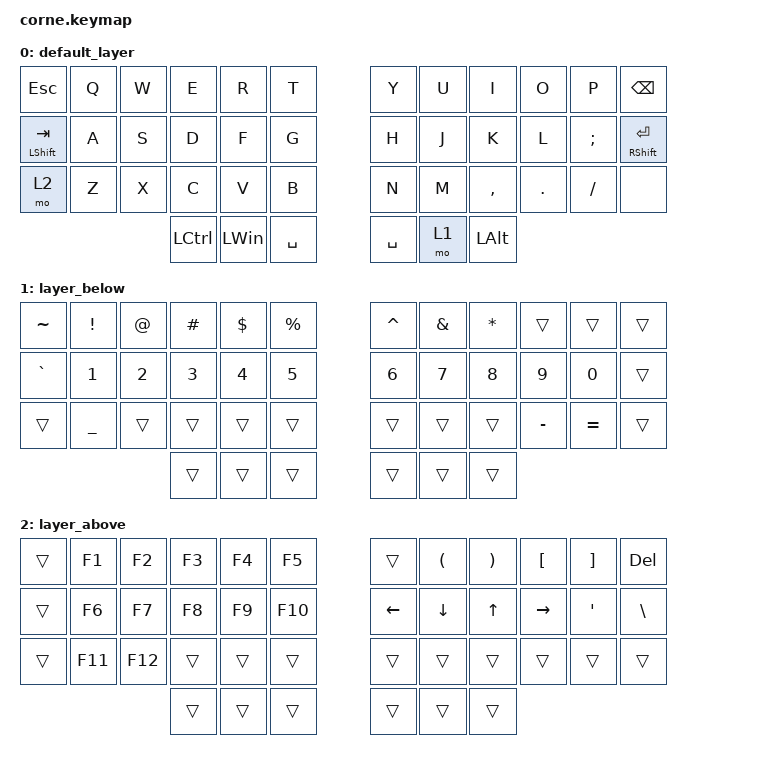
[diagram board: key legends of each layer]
/*
 * Copyright (c) 2020 The ZMK Contributors
 *
 * SPDX-License-Identifier: MIT
 */

#include <behaviors.dtsi>
#include <dt-bindings/zmk/keys.h>

/ {
    behaviors {
        tp: tap_preferred {
            compatible = "zmk,behavior-hold-tap";
            label = "TAP_PREFERRED";
            #binding-cells = <2>;
            tapping-term-ms = <150>;
            quick-tap-ms = <0>;
            flavor = "tap-preferred";
            bindings = <&kp>, <&kp>;
        };
    };

    keymap {
        compatible = "zmk,keymap";

        default_layer {
            // -----------------------------------------------------------------------------------------
            // | TAB  |  Q  |  W  |  E  |  R  |    T    |   |  Y  |  U   |  I  |  O  |  P  | ESC |
            // | CTRL |  A  |  S  |  D  |  F  |    G    |   |  H  |  J   |  K  |  L  |  ;  |  LWR/'   |
            // | SHFT |  Z  |  X  |  C  |  V  |    B    |   |  N  |  M   |  ,  |  .  |  /  | SHFT |
            //                    | GUI | LWR | ALT/ENT |   | HYPER/SPC | BKSP  | RSE |

            bindings = <
&kp ESCAPE          &kp Q  &kp W  &kp E             &kp R         &kp T        &kp Y      &kp U  &kp I         &kp O    &kp P     &kp BACKSPACE
&mt LEFT_SHIFT TAB  &kp A  &kp S  &kp D             &kp F         &kp G        &kp H      &kp J  &kp K         &kp L    &kp SEMI  &mt RIGHT_SHIFT ENTER
&mo 2               &kp Z  &kp X  &kp C             &kp V         &kp B        &kp N      &kp M  &kp COMMA     &kp DOT  &kp FSLH  &none
                                  &kp LEFT_CONTROL  &kp LEFT_WIN  &kp SPACE    &kp SPACE  &mo 1  &kp LEFT_ALT
            >;
        };

        layer_below {
            // -----------------------------------------------------------------------------------------
            // |      |  !  |  @  |  #  |  $  |    %     |   |  ^  |  &  |  *  |  (  |  )  |   \   |
            // |      |  1  |  2  |  3  |  4  |    5     |   |  -  |  =  |  `  |  [  |  ]  |  "|"  |
            // | SHFT |  6  |  7  |  8  |  9  |    0     |   |  _  |  +  |  ~  |  {  |  }  | RSHFT |
            //                     | GUI |     | ALT/ENT |   | HYPER/SPACE | BKSP |    |

            bindings = <
&kp TILDE  &kp EXCL        &kp AT  &kp HASH  &kp DLLR  &kp PERCENT    &kp CARET     &kp AMPERSAND  &kp ASTERISK  &trans     &trans     &trans
&kp GRAVE  &kp N1          &kp N2  &kp N3    &kp N4    &kp N5         &kp NUMBER_6  &kp N7         &kp NUMBER_8  &kp N9     &kp N0     &trans
&trans     &kp UNDERSCORE  &trans  &trans    &trans    &trans         &trans        &trans         &trans        &kp MINUS  &kp EQUAL  &trans
                                   &trans    &trans    &trans         &trans        &trans         &trans
            >;
        };

        layer_above {
            // -----------------------------------------------------------------------------------------
            // |       |  F1  |  F2  |  F3  |  F4  |  F5 |            |  F6  |  F7  |  F8  |  F9  |  F10  |   |
            // |       | Prev | Next | Vol - | Vol + | Play/Pause |   |      | LFT | DWN |  UP | RGT |     |     |
            // | BTCLR | BT1 | BT2 | BT3 | BT4 | BT5 |   |            |     |     |     |     |     |     |
            //                    |     |     |    |                  |     |     |     |

            bindings = <
&trans  &kp F1   &kp F2   &kp F3  &kp F4  &kp F5     &trans    &kp LEFT_PARENTHESIS  &kp RIGHT_PARENTHESIS  &kp LEFT_BRACKET  &kp RIGHT_BRACKET  &kp DEL
&trans  &kp F6   &kp F7   &kp F8  &kp F9  &kp F10    &kp LEFT  &kp DOWN              &kp UP                 &kp RIGHT         &kp SQT            &kp BACKSLASH
&trans  &kp F11  &kp F12  &trans  &trans  &trans     &trans    &trans                &trans                 &trans            &trans             &trans
                          &trans  &trans  &trans     &trans    &trans                &trans
            >;
        };
    };
};
